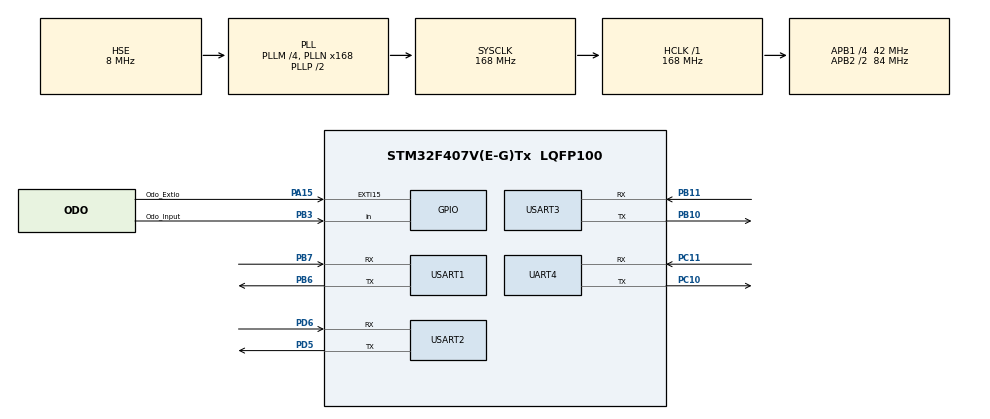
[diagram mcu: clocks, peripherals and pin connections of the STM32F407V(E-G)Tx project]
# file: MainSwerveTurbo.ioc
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Dma.Request0=USART2_RX
Dma.USART2_RX.0.Direction=DMA_PERIPH_TO_MEMORY
Dma.USART2_RX.0.FIFOMode=DMA_FIFOMODE_DISABLE
Dma.USART2_RX.0.Instance=DMA1_Stream5
Dma.USART2_RX.0.MemDataAlignment=DMA_MDATAALIGN_BYTE
Dma.USART2_RX.0.MemInc=DMA_MINC_ENABLE
Dma.USART2_RX.0.Mode=DMA_NORMAL
Dma.USART2_RX.0.PeriphDataAlignment=DMA_PDATAALIGN_BYTE
Dma.USART2_RX.0.PeriphInc=DMA_PINC_DISABLE
Dma.USART2_RX.0.Priority=DMA_PRIORITY_LOW
FREERTOS.Tasks01=TaskPathTrack,0,128,PathTracking,Default,NULL,Dynamic,NULL,NULL;TaskPIDCal,0,128,StartTask02,Default,NULL,Dynamic,NULL,NULL;KinematicTask,-1,128,KinematicCal,Default,NULL,Dynamic,NULL,NULL
Mcu.Family=STM32F4
Mcu.Name=STM32F407V(E-G)Tx
Mcu.Package=LQFP100
NVIC.DMA1_Stream5_IRQn=true\:5\:0\:false\:false\:true\:true\:false\:true\:true
NVIC.EXTI15_10_IRQn=true\:5\:0\:false\:false\:true\:true\:true\:true\:true
NVIC.PriorityGroup=NVIC_PRIORITYGROUP_4
NVIC.TIM1_UP_TIM10_IRQn=true\:15\:0\:false\:false\:true\:false\:false\:true\:true
NVIC.TimeBase=TIM1_UP_TIM10_IRQn
NVIC.TimeBaseIP=TIM1
NVIC.UART4_IRQn=true\:5\:0\:false\:false\:true\:true\:true\:true\:true
NVIC.USART2_IRQn=true\:5\:0\:false\:false\:true\:true\:true\:true\:true
NVIC.USART3_IRQn=true\:5\:0\:false\:false\:true\:true\:true\:true\:true
PA13.Mode=Serial_Wire
PA13.Signal=SYS_JTMS-SWDIO
PA14.Mode=Serial_Wire
PA14.Signal=SYS_JTCK-SWCLK
PA15.GPIO_Label=Odo_Extio
PA15.GPIO_PuPd=GPIO_PULLUP
PA15.Signal=GPXTI15
PB10.Mode=Asynchronous
PB10.Signal=USART3_TX
PB11.Mode=Asynchronous
PB11.Signal=USART3_RX
PB3.GPIO_Label=Odo_Input
PB3.GPIO_PuPd=GPIO_PULLUP
PB3.Signal=GPIO_Input
PB6.Mode=Asynchronous
PB6.Signal=USART1_TX
PB7.Mode=Asynchronous
PB7.Signal=USART1_RX
PC10.Mode=Asynchronous
PC10.Signal=UART4_TX
PC11.Mode=Asynchronous
PC11.Signal=UART4_RX
PD5.Mode=Asynchronous
PD5.Signal=USART2_TX
PD6.Mode=Asynchronous
PD6.Signal=USART2_RX
PH0-OSC_IN.Mode=HSE-External-Oscillator
PH0-OSC_IN.Signal=RCC_OSC_IN
PH1-OSC_OUT.Mode=HSE-External-Oscillator
PH1-OSC_OUT.Signal=RCC_OSC_OUT
ProjectManager.HeapSize=0x200
ProjectManager.StackSize=0x400
ProjectManager.TargetToolchain=STM32CubeIDE
RCC.48MHZClocksFreq_Value=84000000
RCC.AHBFreq_Value=168000000
RCC.APB1CLKDivider=RCC_HCLK_DIV4
RCC.APB1Freq_Value=42000000
RCC.APB1TimFreq_Value=84000000
RCC.APB2CLKDivider=RCC_HCLK_DIV2
RCC.APB2Freq_Value=84000000
RCC.APB2TimFreq_Value=168000000
RCC.CortexFreq_Value=168000000
RCC.HCLKFreq_Value=168000000
RCC.HSE_VALUE=8000000
RCC.HSI_VALUE=16000000
RCC.LSE_VALUE=32768
RCC.PLLM=4
RCC.PLLN=168
RCC.PLLSourceVirtual=RCC_PLLSOURCE_HSE
RCC.SYSCLKFreq_VALUE=168000000
RCC.SYSCLKSource=RCC_SYSCLKSOURCE_PLLCLK
RCC.VCOOutputFreq_Value=336000000
TIM2.Period=10000-1
TIM2.Prescaler=168-1
UART4.VirtualMode=Asynchronous
USART1.VirtualMode=VM_ASYNC
USART2.VirtualMode=VM_ASYNC
USART3.VirtualMode=VM_ASYNC
VP_FREERTOS_VS_CMSIS_V1.Mode=CMSIS_V1
VP_SYS_VS_tim1.Mode=TIM1
VP_TIM2_VS_ClockSourceINT.Mode=Internal
board=custom

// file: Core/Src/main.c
/* USER CODE BEGIN Header */
/**
  ******************************************************************************
  * @file           : main.c
  * @brief          : Main program body
  ******************************************************************************
  * @attention
  *
  * Copyright (c) 2023 STMicroelectronics.
  * All rights reserved.
  *
  * This software is licensed under terms that can be found in the LICENSE file
  * in the root directory of this software component.
  * If no LICENSE file comes with this software, it is provided AS-IS.
  *
  ******************************************************************************
  */
/* USER CODE END Header */
#include "main.h"
#include "cmsis_os.h"

/* USER CODE BEGIN Includes */
#include <math.h>
#include <stdlib.h>
#include <PID.h>
#include <String.h>
/* USER CODE END Includes */

TIM_HandleTypeDef htim2;

UART_HandleTypeDef huart4;
UART_HandleTypeDef huart1;
UART_HandleTypeDef huart2;
UART_HandleTypeDef huart3;
DMA_HandleTypeDef hdma_usart2_rx;

osThreadId TaskPathTrackHandle;
osThreadId TaskPIDCalHandle;
osThreadId KinematicTaskHandle;
/* USER CODE BEGIN PV */
/*-----------------------------Begin:kinematic Macro--------------------------*/
#define robot_Lenght 0.3
#define robot_WheelR 0.09
/*-----------------------------End:kinematic Macro----------------------------*/

/*-----------------------------Begin:Optimizer Var----------------------------*/

/*-----------------------------End:Optimizer Var------------------------------*/
/* USER CODE END PV */

void SystemClock_Config(void);
static void MX_GPIO_Init(void);
static void MX_DMA_Init(void);
static void MX_USART1_UART_Init(void);
static void MX_UART4_Init(void);
static void MX_USART3_UART_Init(void);
static void MX_USART2_UART_Init(void);
static void MX_TIM2_Init(void);
void PathTracking(void const * argument);
void StartTask02(void const * argument);
void KinematicCal(void const * argument);

/* USER CODE BEGIN 0 */

uint8_t TxBuf[21];

void ControlDriver(uint8_t ID1,uint8_t MODE1,float BLDCSpeed1,float DCPos1,uint8_t ID2,uint8_t MODE2,float BLDCSpeed2,float DCPos2)
{
	uint8_t *pByte = NULL;
	pByte = &ID1;
	TxBuf[0]=pByte[0];
	pByte = &MODE1;
	TxBuf[1]=pByte[0];
	pByte = &BLDCSpeed1;
	for(uint8_t i=2;i<6;i++){
		TxBuf[i]=pByte[i-2];
	}
	pByte = &DCPos1;
	for(uint8_t i=6;i<10;i++){
		TxBuf[i]=pByte[i-6];
	}
	pByte = &ID2;
	TxBuf[10]=pByte[0];
	pByte = &MODE2;
	TxBuf[11]=pByte[0];
	pByte = &BLDCSpeed2;
	for(uint8_t i=12;i<16;i++){
		TxBuf[i]=pByte[i-12];
	}
	pByte = &DCPos2;
	for(uint8_t i=16;i<20;i++){
		TxBuf[i]=pByte[i-16];
	}
	TxBuf[20] = 13;

	HAL_UART_Transmit(&huart1, (uint8_t *)TxBuf,sizeof(TxBuf), 1000);

}

uint8_t ID1,Mode1,ID2,Mode2;
float BL1,BL2,DC1,DC2;
void SolveMainTask(uint8_t* dataArray){
	uint8_t *pFloat=NULL;
	pFloat = &ID1;
	*(pFloat)=dataArray[0];
	pFloat = &Mode1;
	*(pFloat)=dataArray[1];
	pFloat = &BL1;
	for(uint8_t i = 2; i < 6;i++)
	{
		*(pFloat+i-2)=dataArray[i];
	}
	pFloat = &DC1;
	for(uint8_t i = 6; i < 10;i++)
	{
		*(pFloat+i-6)=dataArray[i];
	}
	pFloat = &ID2;
	*(pFloat)=dataArray[10];
	pFloat = &Mode2;
	*(pFloat)=dataArray[11];
	pFloat = &BL2;
	for(uint8_t i = 12; i < 16;i++)
	{
		*(pFloat+i-12)=dataArray[i];
	}
	pFloat = &DC2;
	for(uint8_t i = 16; i < 20;i++)
	{
		*(pFloat+i-16)=dataArray[i];
	}

}

typedef struct{
	uint8_t Status;

	uint8_t XLeft;
	uint8_t YLeft;

	uint8_t XRight;
	uint8_t YRight;

	uint8_t Left;
	uint8_t Up;
	uint8_t Right;
	uint8_t Down;

	uint8_t Square;
	uint8_t Triangle;
	uint8_t Circle;
	uint8_t Cross;

	uint8_t L1;
	uint8_t L2;
	uint8_t L3;

	uint8_t R1;
	uint8_t R2;
	uint8_t R3;

	uint8_t Touch;

	uint8_t Charge;
	uint8_t Battery;
} _GamePad;

_GamePad GamePad;

uint8_t UARTRX3_Buffer[9];
uint8_t DataTayGame[9];

float Xleft,Yleft;
float Xright;

float SpeedOutPut,PosOutPut;

char ds[12];
uint8_t uart2_ds[5], ds_ind, ds_cnt, ds_flg;
//int GocRobot;
//
//void GetDataCompass(){
//	GocRobot = ds[1] - 48;
//	int x = 2;
//	while((ds[x] >= 48) && (ds[x] <= 57)){
//		GocRobot = GocRobot * 10;
//		GocRobot += ds[x] -48;
//		++x;
//	}
//
//	if(ds[0] == '-'){
//		GocRobot = -GocRobot;
//	}
//}

uint8_t AngleData[5];
int CurrAngle;
void Receive(uint8_t *DataArray){
      uint8_t *pInt = NULL;
      if(DataArray[4] == 13){
           pInt = &CurrAngle;
           for(uint8_t i = 0; i < 4; i++) {
               *(pInt + i) = DataArray[i];
            }
      }
      	  memset(DataArray,0,5);
 }

void HAL_UARTEx_RxEventCallback(UART_HandleTypeDef *huart, uint16_t Size)
{
	if(huart -> Instance == USART2)
	{
		HAL_UARTEx_ReceiveToIdle_DMA(&huart2, uart2_ds, 5);
			Receive(uart2_ds);
		  __HAL_DMA_DISABLE_IT(&hdma_usart2_rx,DMA_IT_HT);
	}
}

void HAL_UART_RxCpltCallback(UART_HandleTypeDef *huart){

	if(huart->Instance == USART3){
		HAL_UART_Receive_IT(&huart3, (uint8_t*)UARTRX3_Buffer, 9);
		int ViTriData = -1;
		for(int i = 0; i <= 8; ++i){
			if(UARTRX3_Buffer[i] == 0xAA){
				ViTriData = i;
			}
		}
		if(ViTriData != -1){
			int cnt = 0;
			while(cnt < 9){
				DataTayGame[cnt] = UARTRX3_Buffer[ViTriData];
				++ViTriData;
				if(ViTriData == 9){
					ViTriData = 0;
				}
				++cnt;
			}
			GamePad.Status = 1;

			GamePad.XLeft = DataTayGame[1];
			GamePad.YLeft = DataTayGame[2];

			GamePad.XRight = DataTayGame[3];
			GamePad.YRight = DataTayGame[4];

			GamePad.Left = (DataTayGame[5] >> 7) & 1;
			GamePad.Up = (DataTayGame[5] >> 6) & 1;
			GamePad.Right = (DataTayGame[5] >> 5) & 1;
			GamePad.Down = (DataTayGame[5] >> 4) & 1;

			GamePad.Square = (DataTayGame[5] >> 3) & 1;
			GamePad.Triangle = (DataTayGame[5] >> 2) & 1;
			GamePad.Circle = (DataTayGame[5] >> 1) & 1;
			GamePad.Cross = DataTayGame[5] & 1;

			GamePad.L1 = (DataTayGame[6] >> 7) & 1;
			GamePad.L2 = (DataTayGame[6] >> 6) & 1;
			GamePad.R1 = (DataTayGame[6] >> 5) & 1;
			GamePad.R2 = (DataTayGame[6] >> 4) & 1;

			GamePad.Touch = (DataTayGame[6] >> 3) & 1;
			GamePad.Charge = (DataTayGame[6] >> 2) & 1;

			GamePad.L3 = (DataTayGame[6] >> 1) & 1;
			GamePad.R3 = DataTayGame[6] & 1;

			GamePad.Battery = DataTayGame[7];

			  Xleft = ((GamePad.XLeft-125)/10)*0.3/12;
			  Yleft = ((GamePad.YLeft-125)/10)*0.3/12;
			  Xright =((GamePad.XRight-120)/10)*30/12;
		}
		else{
			GamePad.Status = 0;
		}
	}
//	if(huart->Instance == USART2){
////		if(uart2_ds != '\n')
////				ds[ds_ind++] = uart2_ds;
////		else{
////				GetDataCompass();
////				ds_cnt = ds_ind;
////				ds_flg = 1;
////				ds_ind = 0;
////		}
//		HAL_UART_Receive_IT(&huart2, (uint8_t*)uart2_ds, 5);
//		int Vitridata2 = -1;
//		for (int i2 =0;i2<=4;++i2)
//		{
//			if(uart2_ds[i2]==149){
//				Vitridata2 = i2;
//			}
//		}
//
//		if(Vitridata2 != -1){
//			int cnt2 = 0;
//			while (cnt2<5){
//				AngleData[cnt2] = AngleData[Vitridata2];
//				++Vitridata2;
//				if(Vitridata2 == 5)
//				{
//					Vitridata2 = 0;
//				}
//				++cnt2;
//			}
//			CurrAngle = AngleData[2]<<8 | AngleData[3];
//		}
//
//	}
}

//MMMMMMMMMMMMMMMMMMMMMMMMMMMMMMMMMMMMMMMMMMMMMMMMMMMMMMMMMMMMMMMMMMMMMMMMMMMMMMMMMMMMMMMMMMMMM//
//----------------------------------------Begin:Optimizer--------------------------------------//

float wheel_Vel_X1,wheel_Vel_Y1,wheel_Angle1,wheel_AngleVel1;
float wheel_Vel_X2,wheel_Vel_Y2,wheel_Angle2,wheel_AngleVel2;

float u,v,rad,c;
int Direc = 1;

float TestAngle;

//De Tim Ra 4 goc phan tu + cac Vecto giua cac goc phan tu
int8_t quadrantCheck(float X, float Y)
{
	if((X>0)&&(Y>0))return 1;
	else if ((X<0)&&(Y>0))return 2;
	else if ((X<0)&&(Y<0))return 3;
	else if ((X>0)&&(Y<0))return 4;
	else if ((X>0)&&(Y==0))return -1;
	else if ((X<0)&&(Y==0))return -2;
	else if ((X==0)&&(Y>0))return -3;
	else if ((X==0)&&(Y<0))return -4;
	else return 0;
}

//Struct giu chi so cua Ham toi uu goc xoay
typedef struct Optimizer{
	int Direc;
	float CurrentAngle;
	float DeltaAngle;
	float OutPutAngle;
	float PreAngle;
	float CalInput;
	float preCal;
	float DeltaCal;
	uint8_t OdoFlagX;
	uint8_t OdoFlagY;
	double Xcoef,Ycoef;
	double XCurrCnt;
	double YCurrCnt;
}Optimizer;

//Khoi tao chi so cho moi cum Swerve
void SwerveInit(Optimizer *Swerve){
	Swerve -> Direc = 1;
	Swerve -> CurrentAngle = 0;
	Swerve -> DeltaAngle = 0;
	Swerve -> OutPutAngle = 0;
	Swerve -> PreAngle =0;
	Swerve -> preCal =0;
	Swerve -> DeltaCal = 0;
	Swerve->  CalInput = 0;
	Swerve-> OdoFlagX = 1;
	Swerve-> OdoFlagY = 1;
	Swerve-> Xcoef = 0;
	Swerve-> Ycoef = 0;
}

//Ham tinh toan chia het cho 360
float modulo360(float Angle)
{
	int Result = (int)Angle/360;
	return Angle-Result*360;
}

//Ham tinh toan chia het cho 180
float modulo180(float Angle)
{
	int Result = (int)Angle/180;
	return Angle-Result*180;
}

//Ham Tim Goc Xoay Toi Uu nhat cho cum Swerve
void OptimizeAngle (Optimizer *Swerve,float InPut)
{
	if (InPut != Swerve->PreAngle){

		Swerve->CalInput = InPut;
		if ((Swerve->CurrentAngle>=0)&&Swerve->CalInput<0)Swerve->CalInput+=360;
		else if ((Swerve->CurrentAngle<0)&&Swerve->CalInput>0) Swerve->CalInput-=360;

		Swerve->DeltaCal = Swerve->CalInput-Swerve->preCal;
		if(Swerve->DeltaCal>180)Swerve->DeltaCal+=-360;
		else if(Swerve->DeltaCal<-180)Swerve->DeltaCal+=360;

		if ((Swerve->DeltaCal>90)&&(Swerve->DeltaCal<180))
		{
			Swerve->Direc *= -1;
		}else if ((Swerve->DeltaCal<-90)&&(Swerve->DeltaCal>-180))
		{
			Swerve->Direc *= -1;
		}else if(abs(Swerve->DeltaCal)==180)
		{
			Swerve->Direc *= -1;
		}

		Swerve->DeltaAngle = Swerve->CalInput-modulo360(Swerve->CurrentAngle);

		if(Swerve->DeltaAngle>180)Swerve->DeltaAngle+=-360;
		else if(Swerve->DeltaAngle<-180)Swerve->DeltaAngle+=360;

		if((Swerve->DeltaAngle<=90)&&(Swerve->DeltaAngle>=-90))
		{
			Swerve->DeltaAngle = Swerve->DeltaAngle;
		}else if ((Swerve->DeltaAngle>90)&&(Swerve->DeltaAngle<=180))
		{
			Swerve->DeltaAngle += -180.0;
		}else if ((Swerve->DeltaAngle<-90)&&(Swerve->DeltaAngle>=-180))
		{
			Swerve->DeltaAngle += 180.0;
		}

		Swerve->PreAngle = InPut;
		Swerve->preCal = Swerve->CalInput;
		Swerve->CurrentAngle+= Swerve->DeltaAngle;

		if(Swerve->CalInput==modulo360(Swerve->CurrentAngle)){
			Swerve->Direc = 1;
		}
	}
}

//----------------------------------------End:Optimizer----------------------------------------//
//MMMMMMMMMMMMMMMMMMMMMMMMMMMMMMMMMMMMMMMMMMMMMMMMMMMMMMMMMMMMMMMMMMMMMMMMMMMMMMMMMMMMMMMMMMMMM//

//MMMMMMMMMMMMMMMMMMMMMMMMMMMMMMMMMMMMMMMMMMMMMMMMMMMMMMMMMMMMMMMMMMMMMMMMMMMMMMMMMMMMMMMMMMMMM//
//----------------------------------------Begin:kinematic--------------------------------------//
int preQuad1,currQuad1;
int preQuad2,currQuad2;
int OdoPos,OdoFlag1,OdoFlag2,OdorCnt;

Optimizer Swerve1;
Optimizer Swerve2;

float uOut,vOut;

void FieldOrientedCotrol(float u , float v, float Angle)
{
	uOut = u*cos(Angle*M_PI/180)-v*sin(Angle*M_PI/180);
	vOut = u*sin(Angle*M_PI/180)+v*cos(Angle*M_PI/180);
}

//Ham tinh dong hoc nghich cho robot dua vao van toc chuyen vi theo cac phuong
void InverseKine(float u,float v ,float r)
{

	wheel_Vel_X1 = v;
	wheel_Vel_Y1 = u-robot_Lenght*r;

	wheel_Vel_X2 = v;
	wheel_Vel_Y2 = u+robot_Lenght*r;

	currQuad1 = quadrantCheck(wheel_Vel_X1,wheel_Vel_Y1);
	currQuad2 = quadrantCheck(wheel_Vel_X2,wheel_Vel_Y2);
	if(currQuad1 == 0)
		{
			OptimizeAngle(&Swerve1, preQuad1);
		}
	else{
		OptimizeAngle(&Swerve1, atan2(wheel_Vel_Y1,wheel_Vel_X1)*180/M_PI);
		preQuad1 = atan2(wheel_Vel_Y1,wheel_Vel_X1)*180/M_PI;
	}
	wheel_AngleVel1 = Swerve1.Direc*(1/robot_WheelR)*(sqrt(pow(wheel_Vel_X1,2)+pow(wheel_Vel_Y1,2)))/ 0.1047198;

	if(currQuad2 == 0)
	{
		OptimizeAngle(&Swerve2, preQuad2);
	}
	else{
		OptimizeAngle(&Swerve2, atan2(wheel_Vel_Y2,wheel_Vel_X2)*180/M_PI);
		preQuad2 = atan2(wheel_Vel_Y2,wheel_Vel_X2)*180/M_PI;
	}

	wheel_AngleVel2 = -Swerve2.Direc*(1/robot_WheelR)*(sqrt(pow(wheel_Vel_X2,2)+pow(wheel_Vel_Y2,2)))/0.1047198;

	//Góc phần tư đầu tiên :
	if (currQuad1 == 1){
		if(Swerve1.Direc>0)
			{
				Swerve1.OdoFlagX = 0;
				Swerve1.OdoFlagY = 0;
			}
		else if (Swerve1.Direc<0)
			{
				Swerve1.OdoFlagX = 1;
				Swerve1.OdoFlagY = 1;
			}
		Swerve1.Xcoef =  cos(atan(wheel_Vel_Y1/wheel_Vel_X1));
		Swerve1.Ycoef =  sin(atan(wheel_Vel_Y1/wheel_Vel_X1));
	//Goc phan tu thu 2 :
	}
	else if (currQuad1 == 2){
		if(Swerve1.Direc>0)
			{
				Swerve1.OdoFlagX = 1;
				Swerve1.OdoFlagY = 0;
			}
		else if (Swerve1.Direc<0)
			{
				Swerve1.OdoFlagX = 0;
				Swerve1.OdoFlagY = 1;
			}
		Swerve1.Xcoef =  cos(atan(wheel_Vel_Y1/wheel_Vel_X1));
		Swerve1.Ycoef =  sin(atan(wheel_Vel_Y1/wheel_Vel_X1));
	}
	//Goc phan tu thu 3 :
	else if (currQuad1 == 3)
	{
		if(Swerve1.Direc>0)
			{
				Swerve1.OdoFlagX = 1;
				Swerve1.OdoFlagY = 1;
			}
		else if (Swerve1.Direc<0)
			{
				Swerve1.OdoFlagX = 0;
				Swerve1.OdoFlagY = 0;
			}
		Swerve1.Xcoef =  cos(atan(wheel_Vel_Y1/wheel_Vel_X1));
		Swerve1.Ycoef =  sin(atan(wheel_Vel_Y1/wheel_Vel_X1));
	}
	//Goc phan tu thu 4 :
	else if (currQuad1 == 4){
		if(Swerve1.Direc>0)
			{
				Swerve1.OdoFlagX = 0;
				Swerve1.OdoFlagY = 1;
			}
		else if (Swerve1.Direc<0)
			{
				Swerve1.OdoFlagX = 1;
				Swerve1.OdoFlagY = 0;
			}
		Swerve1.Xcoef =  cos(atan(wheel_Vel_Y1/wheel_Vel_X1));
		Swerve1.Ycoef =  sin(atan(wheel_Vel_Y1/wheel_Vel_X1));
	}
	//Vector chi huong 0 do :
	else if (currQuad1 == -1)
	{
		if(Swerve1.Direc>0)
			{
				Swerve1.OdoFlagX = 0;
				Swerve1.OdoFlagY = 2;
			}
		else if (Swerve1.Direc<0)
			{
				Swerve1.OdoFlagX = 1;
				Swerve1.OdoFlagY = 2;
			}
		Swerve1.Xcoef = 1;
		Swerve1.Ycoef = 0;
	}
	//Vector chi huong 180 do :
	else if (currQuad1 == -2)
	{
		if(Swerve1.Direc>0)
			{
				Swerve1.OdoFlagX = 1;
				Swerve1.OdoFlagY = 2;
			}
		else if (Swerve1.Direc<0)
			{
				Swerve1.OdoFlagX = 0;
				Swerve1.OdoFlagY = 2;
			}
		Swerve1.Xcoef = 1;
		Swerve1.Ycoef = 0;
	}
	//Vecto chi huong 90 do :
	else if (currQuad1 == -3)
	{
		if(Swerve1.Direc>0)
			{
				Swerve1.OdoFlagX = 2;
				Swerve1.OdoFlagY = 0;
			}
		else if (Swerve1.Direc<0)
			{
				Swerve1.OdoFlagX = 2;
				Swerve1.OdoFlagY = 1;
			}
		Swerve1.Xcoef = 0;
		Swerve1.Ycoef = 1;
	}
	//vecto chi huong 270 do :
	else if (currQuad1 == -4)
	{
		if(Swerve1.Direc>0)
			{
				Swerve1.OdoFlagX = 2;
				Swerve1.OdoFlagY = 1;
			}
		else if (Swerve1.Direc>0)
			{
				Swerve1.OdoFlagX = 2;
				Swerve1.OdoFlagY = 0;
			}
		Swerve1.Xcoef = 0;
		Swerve1.Ycoef = 1;
	}
	else{
		Swerve1.Xcoef = 0;
		Swerve1.Ycoef = 0;
	}

if (Swerve1.Ycoef<0)Swerve1.Ycoef=Swerve1.Ycoef*-1;
}

//----------------------------------------End:Kinematics---------------------------------------//
//MMMMMMMMMMMMMMMMMMMMMMMMMMMMMMMMMMMMMMMMMMMMMMMMMMMMMMMMMMMMMMMMMMMMMMMMMMMMMMMMMMMMMMMMMMMMM//

//MMMMMMMMMMMMMMMMMMMMMMMMMMMMMMMMMMMMMMMMMMMMMMMMMMMMMMMMMMMMMMMMMMMMMMMMMMMMMMMMMMMMMMMMMMMMM//
//----------------------------------------Begin:Position Track---------------------------------//
Optimizer Base;
PID_Param PIDAngle;
PID_Param PIDOdoU;
PID_Param PIDOdoV;

double u1,v1;
double Prex1,Prey1;
int TrajecFlag;
double TargetAngle = 0;

void HAL_GPIO_EXTI_Callback(uint16_t GPIO_Pin)
{
		if (GPIO_Pin == Odo_Extio_Pin)
		{
			if(HAL_GPIO_ReadPin(Odo_Input_GPIO_Port, Odo_Input_Pin)==0)OdorCnt++;
			else OdorCnt--;
		}
}
#define RobotLenght 0.58
#define CountPerRevolTrackingWheel 1000
#define RadiusTrackingWheel 0.06

void OdoCountLogic(void){
	//Xac dinh chuyen vi theo phuong X:
	if (Swerve1.OdoFlagX == 0)
	{
		Swerve1.XCurrCnt += OdorCnt*Swerve1.Xcoef;
	}
	else if (Swerve1.OdoFlagX == 1)
	{
		Swerve1.XCurrCnt -= OdorCnt*Swerve1.Xcoef;
	}
	else if (Swerve1.OdoFlagX == 2)
	{
		Swerve1.XCurrCnt += 0;
	}
	//Xac dinh chuyen vi theo phuong Y:
	if (Swerve1.OdoFlagY == 0)
	{
		Swerve1.YCurrCnt += OdorCnt*Swerve1.Ycoef;
	}
	else if (Swerve1.OdoFlagY == 1)
	{
		Swerve1.YCurrCnt -= OdorCnt*Swerve1.Ycoef;
	}
	else if (Swerve1.OdoFlagY == 2)
	{
		Swerve1.YCurrCnt += 0;
	}
	OdorCnt = 0;
}

float CurrentXPos,CurrentYPos,C;
float DeltaX,DeltaY,DeltaAngle,PreAngle;
void PositionTracking(void)
{
	C = 2*M_PI*RadiusTrackingWheel/CountPerRevolTrackingWheel;
	OdoCountLogic();
	DeltaAngle = (CurrAngle - PreAngle)*M_PI/180;
	DeltaX = C*(Swerve1.XCurrCnt);
	DeltaY = C*(Swerve1.YCurrCnt-RobotLenght/2*DeltaAngle);

	CurrentXPos += DeltaX*cos(CurrAngle*M_PI/180)-DeltaY*sin(CurrAngle*M_PI/180);
	CurrentYPos += DeltaX*sin(CurrAngle*M_PI/180)+DeltaY*cos(CurrAngle*M_PI/180);
	Swerve1.XCurrCnt = 0;
	Swerve1.YCurrCnt = 0;
	PreAngle = CurrAngle;
}
//----------------------------------------End:Position Track-----------------------------------//
//MMMMMMMMMMMMMMMMMMMMMMMMMMMMMMMMMMMMMMMMMMMMMMMMMMMMMMMMMMMMMMMMMMMMMMMMMMMMMMMMMMMMMMMMMMMMM//

//MMMMMMMMMMMMMMMMMMMMMMMMMMMMMMMMMMMMMMMMMMMMMMMMMMMMMMMMMMMMMMMMMMMMMMMMMMMMMMMMMMMMMMMMMMMMM//
//----------------------------------------Begin:PurePursuilt-----------------------------------//

double Points[5][2] = {{0,0},{0,5},{1,1},{0,2},{0,0}};
double CurrPosition[2] = {0,0};
double LookAheadDis = 0.3;

uint16_t LFIndex;
uint8_t IntersectionFound=0;
uint8_t STIndex;

double X1,X2,Y1,Y2;
double Solx1,Solx2,Soly1,Soly2;
double CurrX = 0,CurrY = 1;
double dx,dy,dr,D,discriminant;

double Solptn1[2],Solptn2[2],GoalPtn[2];

double minX,minY,maxX,maxY;

uint8_t EndOfPath;

int pathlen;
//Tim Khoang cach giua hai diem :
double PointDistances(double* pt1,double* pt2)
{
	double Distance = 0;
	Distance = sqrt(pow((pt2[0]-pt1[0]),2)+pow((pt2[1]-pt1[1]),2));
	return Distance;
}

//Ham kiem tra dau :
int sgn(double num)
{
	if(num >=0)return 1;
	else return 0;
}

double min(double a,double b)
{
	double min;
	min = a;
	if (b<=min)
	{
		min = b;
	}
	return min;
}

double max(double a,double b)
{
	double max;
	max = a;
	if (b>=max)
	{
		max = b;
	}
	return max;
}

double absDouble(double num)
{
	if (num >=0)return num;
	else return num*-1;
}

double TargetPoint[2];
double PrevTarget[2];
uint8_t NextIndex;

void PurePursuilt(void)
{
	pathlen = sizeof(Points)/sizeof(Points[0]);
	STIndex = LFIndex;
	IntersectionFound = 0;
	CurrPosition[0]=CurrentXPos;
	CurrPosition[1]=CurrentYPos;
	for (int i = STIndex;i<pathlen-1;i++)
	{
		EndOfPath = 0;

		X1 = Points[i][0]-CurrentXPos;
		Y1 = Points[i][1]-CurrentYPos;

		X2 = Points[i+1][0]-CurrentXPos;
		Y2 = Points[i+1][1]-CurrentYPos;

		dx = X2-X1;
		dy = Y2-Y1;

		dr = sqrt(pow(dx,2)+pow(dy,2));

		D = X1*Y2-X2*Y1;

		discriminant = pow(LookAheadDis,2)*pow(dr,2)-pow(D,2);

		if (discriminant>=0)
		{
			Solx1 = (D*dy+sgn(dy)*dx*sqrt(discriminant))/pow(dr,2);
			Solx2 = (D*dy-sgn(dy)*dx*sqrt(discriminant))/pow(dr,2);
			Soly1 = (-D*dx+absDouble(dy)*sqrt(discriminant))/pow(dr,2);
			Soly2 = (-D*dx-absDouble(dy)*sqrt(discriminant))/pow(dr,2);

			Solptn1[0]=Solx1+CurrentXPos;
			Solptn1[1]=Soly1+CurrentYPos;

			Solptn2[0]=Solx2+CurrentXPos;
			Solptn2[1]=Soly2+CurrentYPos;

			minX = min(Points[i][0],Points[i+1][0]);
			minY = min(Points[i][1],Points[i+1][1]);
			maxX = max(Points[i][0],Points[i+1][0]);
			maxY = max(Points[i][1],Points[i+1][1]);

			if(( ((Solptn1[0]>=minX)&&(Solptn1[0]<=maxX))
			&& ((Solptn1[1]>=minY)&&(Solptn1[1]<=maxY)) )
			|| ( ((Solptn2[0]>=minX)&&(Solptn2[0]<=maxX))
			&& ((Solptn2[1]>=minY)&&(Solptn2[1]<=maxY)) ))
			{
				IntersectionFound = 1;

				if (( ((Solptn1[0]>=minX)&&(Solptn1[0]<=maxX))
					&& ((Solptn1[1]>=minY)&&(Solptn1[1]<=maxY)) )
					&& ( ((Solptn2[0]>=minX)&&(Solptn2[0]<=maxX))
					&& ((Solptn2[1]>=minY)&&(Solptn2[1]<=maxY)) ))
				{
					if((PointDistances(Solptn1,Points[i+1])) < (PointDistances(Solptn2,Points[i+1])))
					{
						GoalPtn[0] = Solptn1[0];
						GoalPtn[1] = Solptn1[1];
					}else{
						GoalPtn[0] = Solptn2[0];
						GoalPtn[1] = Solptn2[1];
					}
				}else {
					if( ((Solptn1[0]>=minX)&&(Solptn1[0]<=maxX))
					&& ((Solptn1[1]>=minY)&&(Solptn1[1]<=maxY)) )
					{
						GoalPtn[0] = Solptn1[0];
						GoalPtn[1] = Solptn1[1];
					}else{
						GoalPtn[0] = Solptn2[0];
						GoalPtn[1] = Solptn2[1];
					}
				}

            if (PointDistances(GoalPtn, Points[i+1])<PointDistances(CurrPosition, Points[i+1])){
                LFIndex = i;
                break;
            }
            else if (LFIndex==pathlen-2)
				{
					EndOfPath = 1 ;
					GoalPtn[0] = Points[i+1][0];
					GoalPtn[1] = Points[i+1][1];
					LFIndex = i+1;
                }
            else{
            	LFIndex = i+1;
            }
			}
			else{
				IntersectionFound = 0;
				GoalPtn[0] = PrevTarget[0];
				GoalPtn[1] = PrevTarget[1];
			}
		}else{
			IntersectionFound = 0;
			NextIndex = LFIndex+1;
			if(NextIndex>pathlen-1)NextIndex=pathlen-1;
			GoalPtn[0] = Points[LFIndex][0];
			GoalPtn[1] = Points[LFIndex][1];
		}
	}
	PrevTarget[0] = GoalPtn[0];
	PrevTarget[1] = GoalPtn[1];

	TargetPoint[0]= GoalPtn[0];
	TargetPoint[1]= GoalPtn[1];
}

//----------------------------------------End:PurePursuilt-------------------------------------//
//MMMMMMMMMMMMMMMMMMMMMMMMMMMMMMMMMMMMMMMMMMMMMMMMMMMMMMMMMMMMMMMMMMMMMMMMMMMMMMMMMMMMMMMMMMMMM//

//MMMMMMMMMMMMMMMMMMMMMMMMMMMMMMMMMMMMMMMMMMMMMMMMMMMMMMMMMMMMMMMMMMMMMMMMMMMMMMMMMMMMMMMMMMMMM//
//----------------------------------------Begin:PIDController----------------------------------//

double kP=1.5,kI,kD=0.1,alpha=0.8,T = 0.08,Ia,Ib,Ua = 40,Ub =-40;
double kP1=1.2,kI1,kD1=0.05,alpha1=0.1,T1 = 0.08,Ia1,Ib1,Ua1 = 0.3,Ub1 =-0.2;
double kP2=1.2,kI2,kD2=0.05,alpha2=0.1,T2 = 0.08,Ia2,Ib2,Ua2 = 0.3,Ub2 =-0.2;

uint8_t esTablished,establishCheck;
void SteadyStateCheck(void)
{

	if ((abs(e_CalOnly(&PIDOdoU,Solptn1[0],Swerve1.XCurrCnt))<0.01) && (abs(e_CalOnly(&PIDOdoV,Solptn1[1],Swerve1.YCurrCnt))<0.01))
	{
		establishCheck+=1;
		if(establishCheck>3)
		{
			esTablished = 1;
			establishCheck = 3;
		}
		else {
			esTablished = 0;
		}
	}else{
		establishCheck = 0;
	}
}

void ResetCheckPara(void)
{
	esTablished = 0;
	establishCheck = 0;
}

void PIDPathFollow(void)
{
	  Pid_SetParam(&PIDAngle,kP,kI,kD,alpha,T,Ia,Ib,Ua,Ub);
	  Pid_SetParam(&PIDOdoU,kP1,kI1,kD1,alpha1,T1,Ia1,Ib1,Ua1,Ub1);
	  Pid_SetParam(&PIDOdoV,kP2,kI2,kD2,alpha2,T2,Ia2,Ib2,Ua2,Ub2);

	  if(EndOfPath == 1)
	  {
		  SteadyStateCheck();
	  }
	  Pid_Cal(&PIDOdoV,TargetPoint[0],CurrentXPos);
	  Pid_Cal(&PIDOdoU,TargetPoint[1],CurrentYPos);
	  if (esTablished!= 1)
	  {
		  Pid_Cal(&PIDAngle,TargetAngle,CurrAngle);
	  }else {
		  PIDAngle.u = 0;
	  }
}

//----------------------------------------End:PIDController------------------------------------//
//MMMMMMMMMMMMMMMMMMMMMMMMMMMMMMMMMMMMMMMMMMMMMMMMMMMMMMMMMMMMMMMMMMMMMMMMMMMMMMMMMMMMMMMMMMMMM//

void TrajectoryCtr1(double x,double y,double t ,double Phi)
{
	if(x!= Prex1){
		u1=(x-Prex1)/t;
		v1=(y-Prey1)/t;
		TargetAngle = Phi;

		if ((x>Prex1)&&(y>Prey1))
		{
			TrajecFlag = 1;
		}else if ((x>Prex1)&&(y<Prey1))
		{
			TrajecFlag = 2;
		}else if ((x<Prex1)&&(y>Prey1))
		{
			TrajecFlag = 3;
		}else if ((x<Prex1)&&(y<Prey1))
		{
			TrajecFlag = 4;
		}else if ((x>Prex1)&&(y==Prey1))
		{
			TrajecFlag = 5;
		}else if ((x<Prex1)&&(y==Prey1))
		{
			TrajecFlag = 6;
		}else if ((x==Prex1)&&(y<Prey1))
		{
			TrajecFlag = 7;
		}else if ((x==Prex1)&&(y<Prey1))
		{
			TrajecFlag = 8;
		}else{
			TrajecFlag = 0;
		}
		Prex1 = x;
		Prey1 = y;
	}
}

double uT,vT,rT;

uint8_t PIDCalFlag;

/* USER CODE END 0 */

int main(void)
{

  /* MCU Configuration--------------------------------------------------------*/

  /* Reset of all peripherals, Initializes the Flash interface and the Systick. */
HAL_Init();

  /* Configure the system clock */
  SystemClock_Config();

  /* Initialize all configured peripherals */
  MX_GPIO_Init();
  MX_DMA_Init();
  MX_USART1_UART_Init();
  MX_UART4_Init();
  MX_USART3_UART_Init();
  MX_USART2_UART_Init();
  MX_TIM2_Init();
  /* USER CODE BEGIN 2 */
  SwerveInit(&Swerve1);
  SwerveInit(&Swerve2);
  HAL_UART_Receive_IT(&huart3, (uint8_t*)UARTRX3_Buffer, 9);
  HAL_TIM_Base_Start_IT(&htim2);
//  HAL_Delay(5000);
//  HAL_UART_Receive_IT(&huart2, (uint8_t *)uart2_ds, 5);

  HAL_UARTEx_ReceiveToIdle_DMA(&huart2, uart2_ds, 5);
  __HAL_DMA_DISABLE_IT(&hdma_usart2_rx,DMA_IT_HT);
//  TargetAngle=GocRobot;

  /* USER CODE END 2 */

  /* Create the thread(s) */
  /* definition and creation of TaskPathTrack */
  osThreadDef(TaskPathTrack, PathTracking, osPriorityNormal, 0, 128);
  TaskPathTrackHandle = osThreadCreate(osThread(TaskPathTrack), NULL);

  /* definition and creation of TaskPIDCal */
  osThreadDef(TaskPIDCal, StartTask02, osPriorityNormal, 0, 128);
  TaskPIDCalHandle = osThreadCreate(osThread(TaskPIDCal), NULL);

  /* definition and creation of KinematicTask */
  osThreadDef(KinematicTask, KinematicCal, osPriorityBelowNormal, 0, 128);
  KinematicTaskHandle = osThreadCreate(osThread(KinematicTask), NULL);

  /* Start scheduler */
  osKernelStart();

  /* We should never get here as control is now taken by the scheduler */
  /* Infinite loop */
  while (1)
  {

  }
}

void SystemClock_Config(void)
{
  RCC_OscInitTypeDef RCC_OscInitStruct = {0};
  RCC_ClkInitTypeDef RCC_ClkInitStruct = {0};

  /** Configure the main internal regulator output voltage
  */
  __HAL_RCC_PWR_CLK_ENABLE();
  __HAL_PWR_VOLTAGESCALING_CONFIG(PWR_REGULATOR_VOLTAGE_SCALE1);

  /** Initializes the RCC Oscillators according to the specified parameters
  * in the RCC_OscInitTypeDef structure.
  */
  RCC_OscInitStruct.OscillatorType = RCC_OSCILLATORTYPE_HSE;
  RCC_OscInitStruct.HSEState = RCC_HSE_ON;
  RCC_OscInitStruct.PLL.PLLState = RCC_PLL_ON;
  RCC_OscInitStruct.PLL.PLLSource = RCC_PLLSOURCE_HSE;
  RCC_OscInitStruct.PLL.PLLM = 4;
  RCC_OscInitStruct.PLL.PLLN = 168;
  RCC_OscInitStruct.PLL.PLLP = RCC_PLLP_DIV2;
  RCC_OscInitStruct.PLL.PLLQ = 4;
  if (HAL_RCC_OscConfig(&RCC_OscInitStruct) != HAL_OK)
  {
    Error_Handler();
  }

  /** Initializes the CPU, AHB and APB buses clocks
  */
  RCC_ClkInitStruct.ClockType = RCC_CLOCKTYPE_HCLK|RCC_CLOCKTYPE_SYSCLK
                              |RCC_CLOCKTYPE_PCLK1|RCC_CLOCKTYPE_PCLK2;
  RCC_ClkInitStruct.SYSCLKSource = RCC_SYSCLKSOURCE_PLLCLK;
  RCC_ClkInitStruct.AHBCLKDivider = RCC_SYSCLK_DIV1;
  RCC_ClkInitStruct.APB1CLKDivider = RCC_HCLK_DIV4;
  RCC_ClkInitStruct.APB2CLKDivider = RCC_HCLK_DIV2;

  if (HAL_RCC_ClockConfig(&RCC_ClkInitStruct, FLASH_LATENCY_5) != HAL_OK)
  {
    Error_Handler();
  }
}

static void MX_TIM2_Init(void)
{

  TIM_ClockConfigTypeDef sClockSourceConfig = {0};
  TIM_MasterConfigTypeDef sMasterConfig = {0};

  htim2.Instance = TIM2;
  htim2.Init.Prescaler = 168-1;
  htim2.Init.CounterMode = TIM_COUNTERMODE_UP;
  htim2.Init.Period = 10000-1;
  htim2.Init.ClockDivision = TIM_CLOCKDIVISION_DIV1;
  htim2.Init.AutoReloadPreload = TIM_AUTORELOAD_PRELOAD_DISABLE;
  if (HAL_TIM_Base_Init(&htim2) != HAL_OK)
  {
    Error_Handler();
  }
  sClockSourceConfig.ClockSource = TIM_CLOCKSOURCE_INTERNAL;
  if (HAL_TIM_ConfigClockSource(&htim2, &sClockSourceConfig) != HAL_OK)
  {
    Error_Handler();
  }
  sMasterConfig.MasterOutputTrigger = TIM_TRGO_RESET;
  sMasterConfig.MasterSlaveMode = TIM_MASTERSLAVEMODE_DISABLE;
  if (HAL_TIMEx_MasterConfigSynchronization(&htim2, &sMasterConfig) != HAL_OK)
  {
    Error_Handler();
  }

}

static void MX_UART4_Init(void)
{

  huart4.Instance = UART4;
  huart4.Init.BaudRate = 115200;
  huart4.Init.WordLength = UART_WORDLENGTH_8B;
  huart4.Init.StopBits = UART_STOPBITS_1;
  huart4.Init.Parity = UART_PARITY_NONE;
  huart4.Init.Mode = UART_MODE_TX_RX;
  huart4.Init.HwFlowCtl = UART_HWCONTROL_NONE;
  huart4.Init.OverSampling = UART_OVERSAMPLING_16;
  if (HAL_UART_Init(&huart4) != HAL_OK)
  {
    Error_Handler();
  }

}

static void MX_USART1_UART_Init(void)
{

  huart1.Instance = USART1;
  huart1.Init.BaudRate = 115200;
  huart1.Init.WordLength = UART_WORDLENGTH_8B;
  huart1.Init.StopBits = UART_STOPBITS_1;
  huart1.Init.Parity = UART_PARITY_NONE;
  huart1.Init.Mode = UART_MODE_TX_RX;
  huart1.Init.HwFlowCtl = UART_HWCONTROL_NONE;
  huart1.Init.OverSampling = UART_OVERSAMPLING_16;
  if (HAL_UART_Init(&huart1) != HAL_OK)
  {
    Error_Handler();
  }

}

static void MX_USART2_UART_Init(void)
{

  huart2.Instance = USART2;
  huart2.Init.BaudRate = 115200;
  huart2.Init.WordLength = UART_WORDLENGTH_8B;
  huart2.Init.StopBits = UART_STOPBITS_1;
  huart2.Init.Parity = UART_PARITY_NONE;
  huart2.Init.Mode = UART_MODE_TX_RX;
  huart2.Init.HwFlowCtl = UART_HWCONTROL_NONE;
  huart2.Init.OverSampling = UART_OVERSAMPLING_16;
  if (HAL_UART_Init(&huart2) != HAL_OK)
  {
    Error_Handler();
  }

}

static void MX_USART3_UART_Init(void)
{

  huart3.Instance = USART3;
  huart3.Init.BaudRate = 115200;
  huart3.Init.WordLength = UART_WORDLENGTH_8B;
  huart3.Init.StopBits = UART_STOPBITS_1;
  huart3.Init.Parity = UART_PARITY_NONE;
  huart3.Init.Mode = UART_MODE_TX_RX;
  huart3.Init.HwFlowCtl = UART_HWCONTROL_NONE;
  huart3.Init.OverSampling = UART_OVERSAMPLING_16;
  if (HAL_UART_Init(&huart3) != HAL_OK)
  {
    Error_Handler();
  }

}

static void MX_DMA_Init(void)
{

  /* DMA controller clock enable */
  __HAL_RCC_DMA1_CLK_ENABLE();

  /* DMA interrupt init */
  /* DMA1_Stream5_IRQn interrupt configuration */
  HAL_NVIC_SetPriority(DMA1_Stream5_IRQn, 5, 0);
  HAL_NVIC_EnableIRQ(DMA1_Stream5_IRQn);

}

static void MX_GPIO_Init(void)
{
  GPIO_InitTypeDef GPIO_InitStruct = {0};

  /* GPIO Ports Clock Enable */
  __HAL_RCC_GPIOH_CLK_ENABLE();
  __HAL_RCC_GPIOB_CLK_ENABLE();
  __HAL_RCC_GPIOA_CLK_ENABLE();
  __HAL_RCC_GPIOC_CLK_ENABLE();
  __HAL_RCC_GPIOD_CLK_ENABLE();

  /*Configure GPIO pin : Odo_Extio_Pin */
  GPIO_InitStruct.Pin = Odo_Extio_Pin;
  GPIO_InitStruct.Mode = GPIO_MODE_IT_RISING;
  GPIO_InitStruct.Pull = GPIO_PULLUP;
  HAL_GPIO_Init(Odo_Extio_GPIO_Port, &GPIO_InitStruct);

  /*Configure GPIO pin : Odo_Input_Pin */
  GPIO_InitStruct.Pin = Odo_Input_Pin;
  GPIO_InitStruct.Mode = GPIO_MODE_INPUT;
  GPIO_InitStruct.Pull = GPIO_PULLUP;
  HAL_GPIO_Init(Odo_Input_GPIO_Port, &GPIO_InitStruct);

  /* EXTI interrupt init*/
  HAL_NVIC_SetPriority(EXTI15_10_IRQn, 5, 0);
  HAL_NVIC_EnableIRQ(EXTI15_10_IRQn);

}

void PathTracking(void const * argument)
{
  /* USER CODE BEGIN 5 */
  /* Infinite loop */
  for(;;)
  {
  if (GamePad.Touch == 1)
	  {
		  ControlDriver(1,2,0,Swerve1.CurrentAngle,2,2,0,Swerve2.CurrentAngle);
	  }
	 if(GamePad.Triangle == 1){
		 OdoFlag2 = 0;
	 }else if(GamePad.Circle == 1)
	 {
		 OdoFlag2 = 1;
		 TargetAngle = CurrAngle;
	 }else if(GamePad.Square == 1){
		 OdoFlag2 = 2;
	 }

	 if(OdoFlag2==1){
		  //OdoCountLogic();
		  PositionTracking();

		  PurePursuilt();
		  PIDCalFlag = 1;
	  }else if (OdoFlag2 == 2)
  	  {
		//OdoCountLogic();
		PositionTracking();

		InverseKine(Yleft,-Xleft,-Xright*M_PI/180);
		ControlDriver(1,1,wheel_AngleVel1,Swerve1.CurrentAngle,2,1,wheel_AngleVel2,Swerve2.CurrentAngle);
  	  }
    osDelay(T*1000);
  }
  /* USER CODE END 5 */
}

void StartTask02(void const * argument)
{
  /* USER CODE BEGIN StartTask02 */
  /* Infinite loop */
  for(;;)
  {
  if(PIDCalFlag==1){
	PIDPathFollow();
	InverseKine(PIDOdoU.u,PIDOdoV.u,-PIDAngle.u*M_PI/180);
	ControlDriver(1,1,wheel_AngleVel1,Swerve1.CurrentAngle,2,1,wheel_AngleVel2,Swerve2.CurrentAngle);
	PIDCalFlag = 0;
  }
    osDelay(1);
  }
  /* USER CODE END StartTask02 */
}

void KinematicCal(void const * argument)
{
  for(;;)
  {
	  osDelay(1);
  }
}

void HAL_TIM_PeriodElapsedCallback(TIM_HandleTypeDef *htim)
{
  if (htim->Instance == TIM1) {
    HAL_IncTick();
  }
}

void Error_Handler(void)
{
  __disable_irq();
  while (1)
  {
  }
}
